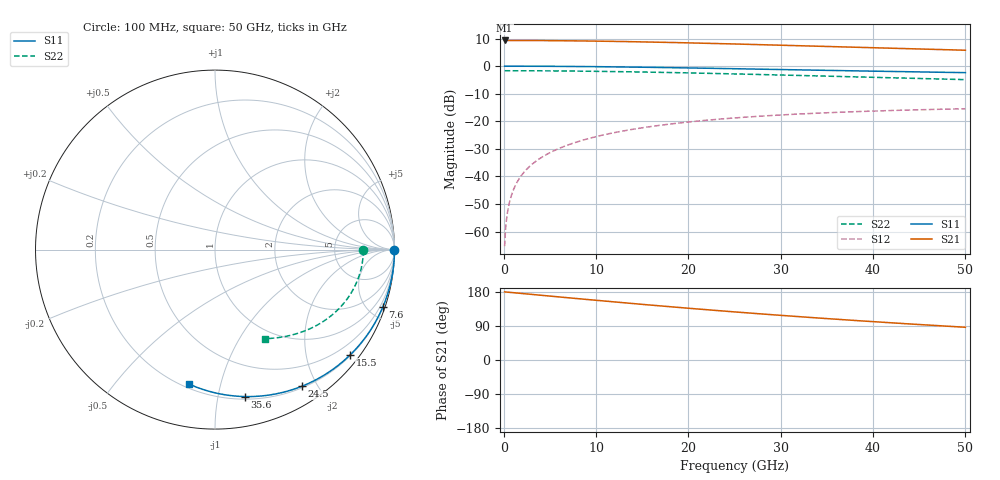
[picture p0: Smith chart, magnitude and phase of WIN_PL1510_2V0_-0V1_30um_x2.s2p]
! AWR Design Environment (4936) Sun Mar 11 19:05:39 2012
! Ports: 2, Freqs: 500
# GHz S MA R 50
!Freq  MagS11  AngS11  MagS21  AngS21  MagS12  AngS12  MagS22  AngS22
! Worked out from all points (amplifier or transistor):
!   500 points, 100 MHz to 50 GHz, reference 50 ohm
!   highest |S21| = 9.3 dB at 100 MHz (marker M1)
!   |S21| within 3 dB of that: start of sweep to 43.88 GHz
!   unconditionally stable (mu >= 1): nowhere
!   at 8.4 GHz: K = 0.10, MSG = 18.1 dB, |S12| = -27.0 dB
!   at 25.1 GHz: K = 0.29, MSG = 13.4 dB, |S12| = -18.8 dB
!   at 50 GHz: K = 0.56, MSG = 10.6 dB, |S12| = -15.4 dB
!   lowest NFmin = 0.01 dB at 100 MHz
!   S11 on the Smith chart (normalised r, x): 100 MHz: open; 7.6 GHz: 0.22, -5.97; 15.5 GHz: 0.22, -2.90; 24.5 GHz: 0.22, -1.80; 35.6 GHz: 0.22, -1.20; 50 GHz: 0.22, -0.80
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0.1  1 -0.3  2.928 179.8  0.0005425 89.8  0.8267 -0.1
0.4  1 -1.0  2.928 179.1  0.00217 89.3  0.8267 -0.6
0.5  1 -1.3  2.928 178.9  0.002712 89.2  0.8266 -0.7
0.7  0.9999 -1.8  2.928 178.4  0.003797 88.8  0.8266 -1.0
1.2  0.9997 -3.0  2.927 177.3  0.006507 88.0  0.8264 -1.7
1.9  0.9992 -4.8  2.925 175.7  0.0103 86.8  0.8259 -2.8
2.9  0.9982 -7.3  2.921 173.4  0.01569 85.2  0.8249 -4.2
4.1  0.9965 -10.3  2.914 170.7  0.02213 83.2  0.8232 -5.9
5.7  0.9932 -14.3  2.902 167.1  0.03061 80.6  0.8199 -8.2
7.6  0.9881 -19.0  2.882 162.8  0.04051 77.5  0.8148 -10.9
8.5  0.9853 -21.2  2.87 160.8  0.04511 76.0  0.812 -12.2
12.2  0.9708 -30.1  2.813 152.8  0.06332 70.2  0.7973 -17.3
15.5  0.9547 -37.8  2.75 145.8  0.07844 65.2  0.7811 -21.7
16.8  0.9478 -40.8  2.722 143.1  0.08407 63.3  0.774 -23.4
20.6  0.9261 -49.2  2.635 135.4  0.09941 57.9  0.7517 -28.3
24.5  0.9025 -57.4  2.54 127.8  0.1134 52.8  0.7272 -33.0
25.1  0.8989 -58.7  2.525 126.7  0.1154 52.0  0.7233 -33.7
29.1  0.8743 -66.6  2.424 119.4  0.1277 47.1  0.6972 -38.3
33.4  0.8486 -74.5  2.317 111.9  0.1391 42.2  0.6692 -43.1
35.6  0.8359 -78.4  2.263 108.3  0.1443 39.9  0.6551 -45.5
41.7  0.8027 -88.5  2.121 98.6  0.1565 33.8  0.6173 -51.9
50  0.7635 -100.8  1.947 86.4  0.1689 26.6  0.5699 -60.6
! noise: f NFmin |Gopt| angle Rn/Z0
0.1  0.005601  0.9983  0.1663  0.7552
5.6  0.3086  0.9091  9.316  0.7529
11.1  0.6017  0.8292  18.49  0.7462
16.7  0.8898  0.7578  27.86  0.7351
22.2  1.163  0.6972  37.11  0.7201
27.8  1.43  0.6449  46.55  0.701
33.3  1.683  0.6021  55.81  0.679
38.9  1.93  0.5667  65.17  0.6535
44.4  2.163  0.5391  74.23  0.6261
50  2.391  0.5175  83.25  0.5963
